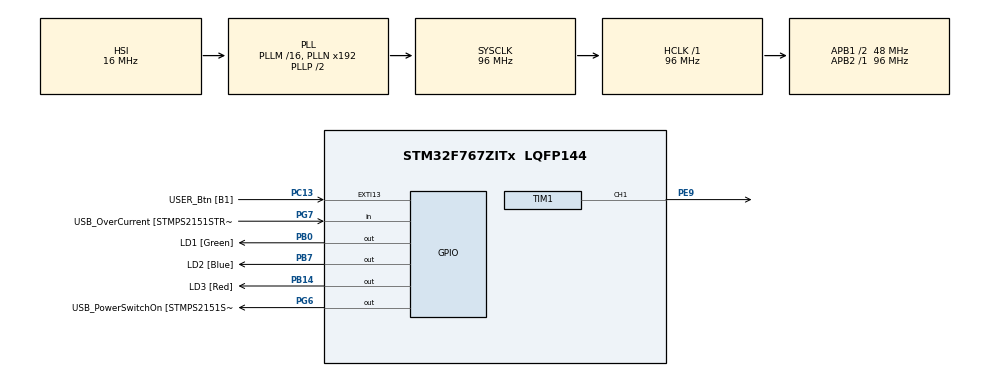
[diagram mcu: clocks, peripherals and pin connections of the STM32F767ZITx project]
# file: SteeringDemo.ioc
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Mcu.Family=STM32F7
Mcu.Name=STM32F767ZITx
Mcu.Package=LQFP144
NVIC.PriorityGroup=NVIC_PRIORITYGROUP_4
PA1.GPIO_Label=RMII_REF_CLK [LAN8742A-CZ-TR_REFCLK0]
PA1.Signal=ETH_REF_CLK
PA10.GPIO_Label=USB_ID
PA10.Signal=USB_OTG_FS_ID
PA11.GPIO_Label=USB_DM
PA11.Signal=USB_OTG_FS_DM
PA12.GPIO_Label=USB_DP
PA12.Signal=USB_OTG_FS_DP
PA13.GPIO_Label=TMS
PA13.Signal=SYS_JTMS-SWDIO
PA14.GPIO_Label=TCK
PA14.Signal=SYS_JTCK-SWCLK
PA2.GPIO_Label=RMII_MDIO [LAN8742A-CZ-TR_MDIO]
PA2.Signal=ETH_MDIO
PA7.GPIO_Label=RMII_CRS_DV [LAN8742A-CZ-TR_CRS_DV]
PA7.Signal=ETH_CRS_DV
PA8.GPIO_Label=USB_SOF [TP1]
PA8.Signal=USB_OTG_FS_SOF
PA9.GPIO_Label=USB_VBUS
PA9.Signal=USB_OTG_FS_VBUS
PB0.GPIO_Label=LD1 [Green]
PB0.Signal=GPIO_Output
PB13.GPIO_Label=RMII_TXD1 [LAN8742A-CZ-TR_TXD1]
PB13.Signal=ETH_TXD1
PB14.GPIO_Label=LD3 [Red]
PB14.Signal=GPIO_Output
PB3.GPIO_Label=SW0
PB3.Signal=SYS_JTDO-SWO
PB7.GPIO_Label=LD2 [Blue]
PB7.Signal=GPIO_Output
PC1.GPIO_Label=RMII_MDC [LAN8742A-CZ-TR_MDC]
PC1.Signal=ETH_MDC
PC13.GPIO_Label=USER_Btn [B1]
PC13.Signal=GPXTI13
PC14/OSC32_IN.Signal=RCC_OSC32_IN
PC15/OSC32_OUT.Signal=RCC_OSC32_OUT
PC4.GPIO_Label=RMII_RXD0 [LAN8742A-CZ-TR_RXD0]
PC4.Signal=ETH_RXD0
PC5.GPIO_Label=RMII_RXD1 [LAN8742A-CZ-TR_RXD1]
PC5.Signal=ETH_RXD1
PD8.GPIO_Label=STLK_RX [STM32F103CBT6_PA3]
PD8.Signal=USART3_TX
PD9.GPIO_Label=STLK_TX [STM32F103CBT6_PA2]
PD9.Signal=USART3_RX
PE9.Signal=S_TIM1_CH1
PG11.GPIO_Label=RMII_TX_EN [LAN8742A-CZ-TR_TXEN]
PG11.Signal=ETH_TX_EN
PG13.GPIO_Label=RMII_TXD0 [LAN8742A-CZ-TR_TXD0]
PG13.Signal=ETH_TXD0
PG6.GPIO_Label=USB_PowerSwitchOn [STMPS2151STR_EN]
PG6.Signal=GPIO_Output
PG7.GPIO_Label=USB_OverCurrent [STMPS2151STR_FAULT]
PG7.Signal=GPIO_Input
PH0/OSC_IN.GPIO_Label=MCO [STM32F103CBT6_PA8]
PH0/OSC_IN.Mode=HSE-External-Oscillator
PH0/OSC_IN.Signal=RCC_OSC_IN
PH1/OSC_OUT.Mode=HSE-External-Oscillator
PH1/OSC_OUT.Signal=RCC_OSC_OUT
ProjectManager.HeapSize=0x200
ProjectManager.StackSize=0x400
ProjectManager.TargetToolchain=STM32CubeIDE
RCC.48MHZClocksFreq_Value=24000000
RCC.AHBFreq_Value=96000000
RCC.APB1CLKDivider=RCC_HCLK_DIV2
RCC.APB1Freq_Value=48000000
RCC.APB1TimFreq_Value=96000000
RCC.APB2Freq_Value=96000000
RCC.APB2TimFreq_Value=96000000
RCC.CortexFreq_Value=96000000
RCC.HCLKFreq_Value=96000000
RCC.HSE_VALUE=16000000
RCC.HSI_VALUE=16000000
RCC.LSE_VALUE=32768
RCC.PLLMUL=RCC_PLL_MUL9
RCC.PRESCALERUSB=RCC_USBCLKSOURCE_PLL_DIV1_5
RCC.SYSCLKFreq_VALUE=96000000
RCC.SYSCLKSource=RCC_SYSCLKSOURCE_PLLCLK
RCC.SYSCLKSourceVirtual=RCC_SYSCLKSOURCE_PLLCLK
RCC.USBFreq_Value=96000000
RCC.VCOOutputFreq_Value=192000000
SH.S_TIM1_CH1.0=TIM1_CH1,PWM Generation1 CH1
TIM1.Channel-PWM\ Generation1\ CH1=TIM_CHANNEL_1
TIM1.Period=20000-1
TIM1.Prescaler=96-1
VP_TIM1_VS_ClockSourceINT.Mode=Internal
board=NUCLEO-F767ZI

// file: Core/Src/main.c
/* USER CODE BEGIN Header */
/**
  ******************************************************************************
  * @file           : main.c
  * @brief          : Main program body
  ******************************************************************************
  * @attention
  *
  * Copyright (c) 2026 STMicroelectronics.
  * All rights reserved.
  *
  * This software is licensed under terms that can be found in the LICENSE file
  * in the root directory of this software component.
  * If no LICENSE file comes with this software, it is provided AS-IS.
  *
  ******************************************************************************
  */
/* USER CODE END Header */
#include "main.h"

/* USER CODE BEGIN Includes */
#include "ugv_servo.h"
/* USER CODE END Includes */

TIM_HandleTypeDef htim1;

/* USER CODE BEGIN PV */

ugvServo_t servo_end_effector;
float angle = 0.0;
int direction = 1; // counter clockwise = 1, clockwise = 0;

/* USER CODE END PV */

void SystemClock_Config(void);
static void MX_GPIO_Init(void);
static void MX_TIM1_Init(void);

int main(void)
{

  /* MCU Configuration--------------------------------------------------------*/

  /* Reset of all peripherals, Initializes the Flash interface and the Systick. */
  HAL_Init();

  /* Configure the system clock */
  SystemClock_Config();

  /* Initialize all configured peripherals */
  MX_GPIO_Init();
  MX_TIM1_Init();
  /* USER CODE BEGIN 2 */

  // Arm Servo Modeling
  servo_end_effector.timerInstance = &htim1;
  servo_end_effector.timerCCRX = &TIM1->CCR1;
  servo_end_effector.timerCh = TIM_CHANNEL_1;
  servo_end_effector.timerARR = htim1.Init.Period;
  servo_end_effector.minPulse = 500;
  servo_end_effector.maxPulse = 2500;
  servo_end_effector.timerPeriod = 20000;
  servo_end_effector.travelAngle = 270.0;
  servo_end_effector.minLimit = 0.0;
  servo_end_effector.maxLimit = 135.0;
  servo_end_effector.travelOffset = 0.0;

  ugv_servoInitServo(&servo_end_effector);
  /* USER CODE END 2 */

  /* Infinite loop */
  while (1)
  {

    /* USER CODE BEGIN 3 */
	  if(direction){
		  angle += 5.0;
		  if(angle >= servo_end_effector.maxLimit)
			  direction = 0;
	  }
	  else{
		  angle -= 5.0;
		  if(angle <= servo_end_effector.minLimit)
			  direction = 1;
	  }
	  ugv_servoSetAngle(&servo_end_effector, angle);
	  HAL_Delay(100);
  }
  /* USER CODE END 3 */
}

void SystemClock_Config(void)
{
  RCC_OscInitTypeDef RCC_OscInitStruct = {0};
  RCC_ClkInitTypeDef RCC_ClkInitStruct = {0};

  /** Configure the main internal regulator output voltage
  */
  __HAL_RCC_PWR_CLK_ENABLE();
  __HAL_PWR_VOLTAGESCALING_CONFIG(PWR_REGULATOR_VOLTAGE_SCALE3);

  /** Initializes the RCC Oscillators according to the specified parameters
  * in the RCC_OscInitTypeDef structure.
  */
  RCC_OscInitStruct.OscillatorType = RCC_OSCILLATORTYPE_HSI;
  RCC_OscInitStruct.HSIState = RCC_HSI_ON;
  RCC_OscInitStruct.HSICalibrationValue = RCC_HSICALIBRATION_DEFAULT;
  RCC_OscInitStruct.PLL.PLLState = RCC_PLL_ON;
  RCC_OscInitStruct.PLL.PLLSource = RCC_PLLSOURCE_HSI;
  RCC_OscInitStruct.PLL.PLLM = 16;
  RCC_OscInitStruct.PLL.PLLN = 192;
  RCC_OscInitStruct.PLL.PLLP = RCC_PLLP_DIV2;
  RCC_OscInitStruct.PLL.PLLQ = 2;
  RCC_OscInitStruct.PLL.PLLR = 2;
  if (HAL_RCC_OscConfig(&RCC_OscInitStruct) != HAL_OK)
  {
    Error_Handler();
  }

  /** Activate the Over-Drive mode
  */
  if (HAL_PWREx_EnableOverDrive() != HAL_OK)
  {
    Error_Handler();
  }

  /** Initializes the CPU, AHB and APB buses clocks
  */
  RCC_ClkInitStruct.ClockType = RCC_CLOCKTYPE_HCLK|RCC_CLOCKTYPE_SYSCLK
                              |RCC_CLOCKTYPE_PCLK1|RCC_CLOCKTYPE_PCLK2;
  RCC_ClkInitStruct.SYSCLKSource = RCC_SYSCLKSOURCE_PLLCLK;
  RCC_ClkInitStruct.AHBCLKDivider = RCC_SYSCLK_DIV1;
  RCC_ClkInitStruct.APB1CLKDivider = RCC_HCLK_DIV2;
  RCC_ClkInitStruct.APB2CLKDivider = RCC_HCLK_DIV1;

  if (HAL_RCC_ClockConfig(&RCC_ClkInitStruct, FLASH_LATENCY_3) != HAL_OK)
  {
    Error_Handler();
  }
}

static void MX_TIM1_Init(void)
{

  TIM_ClockConfigTypeDef sClockSourceConfig = {0};
  TIM_MasterConfigTypeDef sMasterConfig = {0};
  TIM_OC_InitTypeDef sConfigOC = {0};
  TIM_BreakDeadTimeConfigTypeDef sBreakDeadTimeConfig = {0};

  htim1.Instance = TIM1;
  htim1.Init.Prescaler = 96-1;
  htim1.Init.CounterMode = TIM_COUNTERMODE_UP;
  htim1.Init.Period = 20000-1;
  htim1.Init.ClockDivision = TIM_CLOCKDIVISION_DIV1;
  htim1.Init.RepetitionCounter = 0;
  htim1.Init.AutoReloadPreload = TIM_AUTORELOAD_PRELOAD_DISABLE;
  if (HAL_TIM_Base_Init(&htim1) != HAL_OK)
  {
    Error_Handler();
  }
  sClockSourceConfig.ClockSource = TIM_CLOCKSOURCE_INTERNAL;
  if (HAL_TIM_ConfigClockSource(&htim1, &sClockSourceConfig) != HAL_OK)
  {
    Error_Handler();
  }
  if (HAL_TIM_PWM_Init(&htim1) != HAL_OK)
  {
    Error_Handler();
  }
  sMasterConfig.MasterOutputTrigger = TIM_TRGO_RESET;
  sMasterConfig.MasterOutputTrigger2 = TIM_TRGO2_RESET;
  sMasterConfig.MasterSlaveMode = TIM_MASTERSLAVEMODE_DISABLE;
  if (HAL_TIMEx_MasterConfigSynchronization(&htim1, &sMasterConfig) != HAL_OK)
  {
    Error_Handler();
  }
  sConfigOC.OCMode = TIM_OCMODE_PWM1;
  sConfigOC.Pulse = 0;
  sConfigOC.OCPolarity = TIM_OCPOLARITY_HIGH;
  sConfigOC.OCNPolarity = TIM_OCNPOLARITY_HIGH;
  sConfigOC.OCFastMode = TIM_OCFAST_DISABLE;
  sConfigOC.OCIdleState = TIM_OCIDLESTATE_RESET;
  sConfigOC.OCNIdleState = TIM_OCNIDLESTATE_RESET;
  if (HAL_TIM_PWM_ConfigChannel(&htim1, &sConfigOC, TIM_CHANNEL_1) != HAL_OK)
  {
    Error_Handler();
  }
  sBreakDeadTimeConfig.OffStateRunMode = TIM_OSSR_DISABLE;
  sBreakDeadTimeConfig.OffStateIDLEMode = TIM_OSSI_DISABLE;
  sBreakDeadTimeConfig.LockLevel = TIM_LOCKLEVEL_OFF;
  sBreakDeadTimeConfig.DeadTime = 0;
  sBreakDeadTimeConfig.BreakState = TIM_BREAK_DISABLE;
  sBreakDeadTimeConfig.BreakPolarity = TIM_BREAKPOLARITY_HIGH;
  sBreakDeadTimeConfig.BreakFilter = 0;
  sBreakDeadTimeConfig.Break2State = TIM_BREAK2_DISABLE;
  sBreakDeadTimeConfig.Break2Polarity = TIM_BREAK2POLARITY_HIGH;
  sBreakDeadTimeConfig.Break2Filter = 0;
  sBreakDeadTimeConfig.AutomaticOutput = TIM_AUTOMATICOUTPUT_DISABLE;
  if (HAL_TIMEx_ConfigBreakDeadTime(&htim1, &sBreakDeadTimeConfig) != HAL_OK)
  {
    Error_Handler();
  }
  HAL_TIM_MspPostInit(&htim1);

}

static void MX_GPIO_Init(void)
{
  GPIO_InitTypeDef GPIO_InitStruct = {0};

  /* GPIO Ports Clock Enable */
  __HAL_RCC_GPIOC_CLK_ENABLE();
  __HAL_RCC_GPIOH_CLK_ENABLE();
  __HAL_RCC_GPIOA_CLK_ENABLE();
  __HAL_RCC_GPIOB_CLK_ENABLE();
  __HAL_RCC_GPIOE_CLK_ENABLE();
  __HAL_RCC_GPIOD_CLK_ENABLE();
  __HAL_RCC_GPIOG_CLK_ENABLE();

  /*Configure GPIO pin Output Level */
  HAL_GPIO_WritePin(GPIOB, LD1_Pin|LD3_Pin|LD2_Pin, GPIO_PIN_RESET);

  /*Configure GPIO pin Output Level */
  HAL_GPIO_WritePin(USB_PowerSwitchOn_GPIO_Port, USB_PowerSwitchOn_Pin, GPIO_PIN_RESET);

  /*Configure GPIO pin : USER_Btn_Pin */
  GPIO_InitStruct.Pin = USER_Btn_Pin;
  GPIO_InitStruct.Mode = GPIO_MODE_IT_RISING;
  GPIO_InitStruct.Pull = GPIO_NOPULL;
  HAL_GPIO_Init(USER_Btn_GPIO_Port, &GPIO_InitStruct);

  /*Configure GPIO pins : RMII_MDC_Pin RMII_RXD0_Pin RMII_RXD1_Pin */
  GPIO_InitStruct.Pin = RMII_MDC_Pin|RMII_RXD0_Pin|RMII_RXD1_Pin;
  GPIO_InitStruct.Mode = GPIO_MODE_AF_PP;
  GPIO_InitStruct.Pull = GPIO_NOPULL;
  GPIO_InitStruct.Speed = GPIO_SPEED_FREQ_VERY_HIGH;
  GPIO_InitStruct.Alternate = GPIO_AF11_ETH;
  HAL_GPIO_Init(GPIOC, &GPIO_InitStruct);

  /*Configure GPIO pins : RMII_REF_CLK_Pin RMII_MDIO_Pin RMII_CRS_DV_Pin */
  GPIO_InitStruct.Pin = RMII_REF_CLK_Pin|RMII_MDIO_Pin|RMII_CRS_DV_Pin;
  GPIO_InitStruct.Mode = GPIO_MODE_AF_PP;
  GPIO_InitStruct.Pull = GPIO_NOPULL;
  GPIO_InitStruct.Speed = GPIO_SPEED_FREQ_VERY_HIGH;
  GPIO_InitStruct.Alternate = GPIO_AF11_ETH;
  HAL_GPIO_Init(GPIOA, &GPIO_InitStruct);

  /*Configure GPIO pins : LD1_Pin LD3_Pin LD2_Pin */
  GPIO_InitStruct.Pin = LD1_Pin|LD3_Pin|LD2_Pin;
  GPIO_InitStruct.Mode = GPIO_MODE_OUTPUT_PP;
  GPIO_InitStruct.Pull = GPIO_NOPULL;
  GPIO_InitStruct.Speed = GPIO_SPEED_FREQ_LOW;
  HAL_GPIO_Init(GPIOB, &GPIO_InitStruct);

  /*Configure GPIO pin : RMII_TXD1_Pin */
  GPIO_InitStruct.Pin = RMII_TXD1_Pin;
  GPIO_InitStruct.Mode = GPIO_MODE_AF_PP;
  GPIO_InitStruct.Pull = GPIO_NOPULL;
  GPIO_InitStruct.Speed = GPIO_SPEED_FREQ_VERY_HIGH;
  GPIO_InitStruct.Alternate = GPIO_AF11_ETH;
  HAL_GPIO_Init(RMII_TXD1_GPIO_Port, &GPIO_InitStruct);

  /*Configure GPIO pins : STLK_RX_Pin STLK_TX_Pin */
  GPIO_InitStruct.Pin = STLK_RX_Pin|STLK_TX_Pin;
  GPIO_InitStruct.Mode = GPIO_MODE_AF_PP;
  GPIO_InitStruct.Pull = GPIO_NOPULL;
  GPIO_InitStruct.Speed = GPIO_SPEED_FREQ_VERY_HIGH;
  GPIO_InitStruct.Alternate = GPIO_AF7_USART3;
  HAL_GPIO_Init(GPIOD, &GPIO_InitStruct);

  /*Configure GPIO pin : USB_PowerSwitchOn_Pin */
  GPIO_InitStruct.Pin = USB_PowerSwitchOn_Pin;
  GPIO_InitStruct.Mode = GPIO_MODE_OUTPUT_PP;
  GPIO_InitStruct.Pull = GPIO_NOPULL;
  GPIO_InitStruct.Speed = GPIO_SPEED_FREQ_LOW;
  HAL_GPIO_Init(USB_PowerSwitchOn_GPIO_Port, &GPIO_InitStruct);

  /*Configure GPIO pin : USB_OverCurrent_Pin */
  GPIO_InitStruct.Pin = USB_OverCurrent_Pin;
  GPIO_InitStruct.Mode = GPIO_MODE_INPUT;
  GPIO_InitStruct.Pull = GPIO_NOPULL;
  HAL_GPIO_Init(USB_OverCurrent_GPIO_Port, &GPIO_InitStruct);

  /*Configure GPIO pins : USB_SOF_Pin USB_ID_Pin USB_DM_Pin USB_DP_Pin */
  GPIO_InitStruct.Pin = USB_SOF_Pin|USB_ID_Pin|USB_DM_Pin|USB_DP_Pin;
  GPIO_InitStruct.Mode = GPIO_MODE_AF_PP;
  GPIO_InitStruct.Pull = GPIO_NOPULL;
  GPIO_InitStruct.Speed = GPIO_SPEED_FREQ_VERY_HIGH;
  GPIO_InitStruct.Alternate = GPIO_AF10_OTG_FS;
  HAL_GPIO_Init(GPIOA, &GPIO_InitStruct);

  /*Configure GPIO pin : USB_VBUS_Pin */
  GPIO_InitStruct.Pin = USB_VBUS_Pin;
  GPIO_InitStruct.Mode = GPIO_MODE_INPUT;
  GPIO_InitStruct.Pull = GPIO_NOPULL;
  HAL_GPIO_Init(USB_VBUS_GPIO_Port, &GPIO_InitStruct);

  /*Configure GPIO pins : RMII_TX_EN_Pin RMII_TXD0_Pin */
  GPIO_InitStruct.Pin = RMII_TX_EN_Pin|RMII_TXD0_Pin;
  GPIO_InitStruct.Mode = GPIO_MODE_AF_PP;
  GPIO_InitStruct.Pull = GPIO_NOPULL;
  GPIO_InitStruct.Speed = GPIO_SPEED_FREQ_VERY_HIGH;
  GPIO_InitStruct.Alternate = GPIO_AF11_ETH;
  HAL_GPIO_Init(GPIOG, &GPIO_InitStruct);

}

void Error_Handler(void)
{
  __disable_irq();
  while (1)
  {
  }
}
